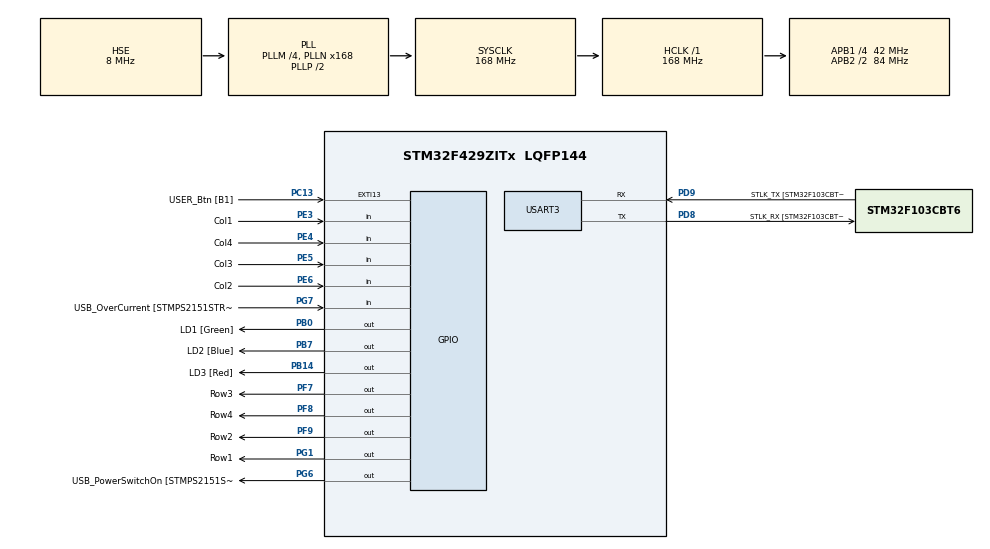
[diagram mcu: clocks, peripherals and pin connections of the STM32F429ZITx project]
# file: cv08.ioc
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Mcu.Family=STM32F4
Mcu.Name=STM32F429ZITx
Mcu.Package=LQFP144
NVIC.PriorityGroup=NVIC_PRIORITYGROUP_4
NVIC.TIM3_IRQn=true\:0\:0\:false\:false\:true\:true\:true
PA1.GPIO_Label=RMII_REF_CLK [LAN8742A-CZ-TR_REFCLK0]
PA1.Signal=ETH_REF_CLK
PA10.GPIO_Label=USB_ID
PA10.Signal=USB_OTG_FS_ID
PA11.GPIO_Label=USB_DM
PA11.Signal=USB_OTG_FS_DM
PA12.GPIO_Label=USB_DP
PA12.Signal=USB_OTG_FS_DP
PA13.GPIO_Label=TMS
PA13.Mode=Serial_Wire
PA13.Signal=SYS_JTMS-SWDIO
PA14.GPIO_Label=TCK
PA14.Mode=Serial_Wire
PA14.Signal=SYS_JTCK-SWCLK
PA2.GPIO_Label=RMII_MDIO [LAN8742A-CZ-TR_MDIO]
PA2.Signal=ETH_MDIO
PA7.GPIO_Label=RMII_CRS_DV [LAN8742A-CZ-TR_CRS_DV]
PA7.Signal=ETH_CRS_DV
PA8.GPIO_Label=USB_SOF [TP1]
PA8.Signal=USB_OTG_FS_SOF
PA9.GPIO_Label=USB_VBUS
PA9.Signal=USB_OTG_FS_VBUS
PB0.GPIO_Label=LD1 [Green]
PB0.Signal=GPIO_Output
PB13.GPIO_Label=RMII_TXD1 [LAN8742A-CZ-TR_TXD1]
PB13.Signal=ETH_TXD1
PB14.GPIO_Label=LD3 [Red]
PB14.Signal=GPIO_Output
PB7.GPIO_Label=LD2 [Blue]
PB7.Signal=GPIO_Output
PC1.GPIO_Label=RMII_MDC [LAN8742A-CZ-TR_MDC]
PC1.Signal=ETH_MDC
PC13.GPIO_Label=USER_Btn [B1]
PC13.Signal=GPXTI13
PC14/OSC32_IN.Mode=LSE-External-Oscillator
PC14/OSC32_IN.Signal=RCC_OSC32_IN
PC15/OSC32_OUT.Mode=LSE-External-Oscillator
PC15/OSC32_OUT.Signal=RCC_OSC32_OUT
PC4.GPIO_Label=RMII_RXD0 [LAN8742A-CZ-TR_RXD0]
PC4.Signal=ETH_RXD0
PC5.GPIO_Label=RMII_RXD1 [LAN8742A-CZ-TR_RXD1]
PC5.Signal=ETH_RXD1
PD8.GPIO_Label=STLK_RX [STM32F103CBT6_PA3]
PD8.Mode=Asynchronous
PD8.Signal=USART3_TX
PD9.GPIO_Label=STLK_TX [STM32F103CBT6_PA2]
PD9.Mode=Asynchronous
PD9.Signal=USART3_RX
PE3.GPIO_Label=Col1
PE3.GPIO_PuPd=GPIO_PULLUP
PE3.Signal=GPIO_Input
PE4.GPIO_Label=Col4
PE4.GPIO_PuPd=GPIO_PULLUP
PE4.Signal=GPIO_Input
PE5.GPIO_Label=Col3
PE5.GPIO_PuPd=GPIO_PULLUP
PE5.Signal=GPIO_Input
PE6.GPIO_Label=Col2
PE6.GPIO_PuPd=GPIO_PULLUP
PE6.Signal=GPIO_Input
PF7.GPIO_Label=Row3
PF7.GPIO_ModeDefaultOutputPP=GPIO_MODE_OUTPUT_OD
PF7.Signal=GPIO_Output
PF8.GPIO_Label=Row4
PF8.GPIO_ModeDefaultOutputPP=GPIO_MODE_OUTPUT_OD
PF8.Signal=GPIO_Output
PF9.GPIO_Label=Row2
PF9.GPIO_ModeDefaultOutputPP=GPIO_MODE_OUTPUT_OD
PF9.Signal=GPIO_Output
PG1.GPIO_Label=Row1
PG1.GPIO_ModeDefaultOutputPP=GPIO_MODE_OUTPUT_OD
PG1.Signal=GPIO_Output
PG11.GPIO_Label=RMII_TX_EN [LAN8742A-CZ-TR_TXEN]
PG11.Signal=ETH_TX_EN
PG13.GPIO_Label=RMII_TXD0 [LAN8742A-CZ-TR_TXD0]
PG13.Signal=ETH_TXD0
PG6.GPIO_Label=USB_PowerSwitchOn [STMPS2151STR_EN]
PG6.Signal=GPIO_Output
PG7.GPIO_Label=USB_OverCurrent [STMPS2151STR_FAULT]
PG7.Signal=GPIO_Input
PH0/OSC_IN.GPIO_Label=MCO [STM32F103CBT6_PA8]
PH0/OSC_IN.Mode=HSE-External-Clock-Source
PH0/OSC_IN.Signal=RCC_OSC_IN
PH1/OSC_OUT.Mode=HSE-External-Clock-Source
PH1/OSC_OUT.Signal=RCC_OSC_OUT
ProjectManager.HeapSize=0x200
ProjectManager.StackSize=0x400
ProjectManager.TargetToolchain=STM32CubeIDE
RCC.48MHZClocksFreq_Value=48000000
RCC.AHBFreq_Value=168000000
RCC.APB1CLKDivider=RCC_HCLK_DIV4
RCC.APB1Freq_Value=42000000
RCC.APB1TimFreq_Value=84000000
RCC.APB2CLKDivider=RCC_HCLK_DIV2
RCC.APB2Freq_Value=84000000
RCC.APB2TimCLKDivider=2
RCC.APB2TimFreq_Value=168000000
RCC.CortexFreq_Value=168000000
RCC.HCLKFreq_Value=168000000
RCC.HSE_VALUE=8000000
RCC.HSI_VALUE=16000000
RCC.PLLM=4
RCC.PLLMUL=RCC_PLL_MUL9
RCC.PLLN=168
RCC.PLLQ=7
RCC.PLLSourceVirtual=RCC_PLLSOURCE_HSE
RCC.PRESCALERUSB=RCC_USBCLKSOURCE_PLL_DIV1_5
RCC.SYSCLKFreq_VALUE=168000000
RCC.SYSCLKSource=RCC_SYSCLKSOURCE_PLLCLK
RCC.SYSCLKSourceVirtual=RCC_SYSCLKSOURCE_PLLCLK
RCC.USBFreq_Value=48000000
RCC.VCOOutputFreq_Value=336000000
TIM3.AutoReloadPreload=TIM_AUTORELOAD_PRELOAD_ENABLE
TIM3.Period=99
TIM3.Prescaler=8399
USART3.VirtualMode=VM_ASYNC
VP_TIM3_VS_ClockSourceINT.Mode=Internal
board=NUCLEO-F429ZI

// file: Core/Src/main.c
/* USER CODE BEGIN Header */
/**
  ******************************************************************************
  * @file           : main.c
  * @brief          : Main program body
  ******************************************************************************
  * @attention
  *
  * <h2><center>&copy; Copyright (c) 2020 STMicroelectronics.
  * All rights reserved.</center></h2>
  *
  * This software component is licensed by ST under BSD 3-Clause license,
  * the "License"; You may not use this file except in compliance with the
  * License. You may obtain a copy of the License at:
  *                        opensource.org/licenses/BSD-3-Clause
  *
  ******************************************************************************
  */
/* USER CODE END Header */
#include "main.h"

/* USER CODE BEGIN Includes */
#include <stdio.h>
#include <string.h>

/* USER CODE END Includes */

TIM_HandleTypeDef htim3;

UART_HandleTypeDef huart3;

/* USER CODE BEGIN PV */

static volatile int8_t key = -1;
static volatile uint32_t old_time = 0;
static volatile uint32_t new_time = 0;
static volatile uint8_t i = 0;
static volatile uint16_t prodleva = 500;
static const int kod = { 7, 9, 3, 2, 12 };
static int pole[5];

/* USER CODE END PV */

void SystemClock_Config(void);
static void MX_GPIO_Init(void);
static void MX_USART3_UART_Init(void);
static void MX_TIM3_Init(void);

/* USER CODE BEGIN 0 */

int __io_putchar(int ch)
{
	ITM_SendChar(ch);
	return 0;
}

void HAL_TIM_PeriodElapsedCallback(TIM_HandleTypeDef *htim)
{
	static int row = 0;
	static const int keyboard[4][4] = {
			{ 1, 2, 3, 21 },
			{ 4, 5, 6, 22 },
			{ 7, 8, 9, 23 },
			{ 11, 0, 12, 24 },
	};

	if (key == -1) {
		if (HAL_GPIO_ReadPin(Col1_GPIO_Port, Col1_Pin) == GPIO_PIN_RESET) key = keyboard[row][0];
		if (HAL_GPIO_ReadPin(Col2_GPIO_Port, Col2_Pin) == GPIO_PIN_RESET) key = keyboard[row][1];
		if (HAL_GPIO_ReadPin(Col3_GPIO_Port, Col3_Pin) == GPIO_PIN_RESET) key = keyboard[row][2];
		if (HAL_GPIO_ReadPin(Col4_GPIO_Port, Col4_Pin) == GPIO_PIN_RESET) key = keyboard[row][3];
	}

	HAL_GPIO_WritePin(Row1_GPIO_Port, Row1_Pin, GPIO_PIN_SET);
	HAL_GPIO_WritePin(Row2_GPIO_Port, Row2_Pin, GPIO_PIN_SET);
	HAL_GPIO_WritePin(Row3_GPIO_Port, Row3_Pin, GPIO_PIN_SET);
	HAL_GPIO_WritePin(Row4_GPIO_Port, Row4_Pin, GPIO_PIN_SET);

	switch (row) {
	case 0:
		row = 1;
		HAL_GPIO_WritePin(Row2_GPIO_Port, Row2_Pin, GPIO_PIN_RESET);
		break;
	case 1:
		row = 2;
		HAL_GPIO_WritePin(Row3_GPIO_Port, Row3_Pin, GPIO_PIN_RESET);
		break;
	case 2:
		row = 3;
		HAL_GPIO_WritePin(Row4_GPIO_Port, Row4_Pin, GPIO_PIN_RESET);
		break;
	case 3:
		row = 0;
		HAL_GPIO_WritePin(Row1_GPIO_Port, Row1_Pin, GPIO_PIN_RESET);
		break;
	}
}

/* USER CODE END 0 */

int main(void)
{

  /* MCU Configuration--------------------------------------------------------*/

  /* Reset of all peripherals, Initializes the Flash interface and the Systick. */
  HAL_Init();

  /* Configure the system clock */
  SystemClock_Config();

  /* Initialize all configured peripherals */
  MX_GPIO_Init();
  MX_USART3_UART_Init();
  MX_TIM3_Init();
  /* USER CODE BEGIN 2 */

  HAL_TIM_Base_Start_IT(&htim3);

  /* USER CODE END 2 */

  /* Infinite loop */
  /* USER CODE BEGIN WHILE */
  while (1)
  {

	  uint8_t n = memcmp(pole, kod, sizeof(kod));

	  if (i == 5 && n == 0){HAL_GPIO_TogglePin(LD1_GPIO_Port, LD1_Pin);i = 0;}
	  else if (i == 5 && n != 0){i = 0;}

	  if (key != -1){

		  new_time = HAL_GetTick();

		  if (new_time < old_time + prodleva){

			  pole[i] = key;
			  i++;

		  }

		  else {

			  i = 0;
			  pole[i] = key;
			  i++;

		  }

		  old_time = new_time;
		  key = -1;
	  }

    /* USER CODE END WHILE */

  }
}

void SystemClock_Config(void)
{
  RCC_OscInitTypeDef RCC_OscInitStruct = {0};
  RCC_ClkInitTypeDef RCC_ClkInitStruct = {0};

  /** Configure the main internal regulator output voltage
  */
  __HAL_RCC_PWR_CLK_ENABLE();
  __HAL_PWR_VOLTAGESCALING_CONFIG(PWR_REGULATOR_VOLTAGE_SCALE1);
  /** Initializes the RCC Oscillators according to the specified parameters
  * in the RCC_OscInitTypeDef structure.
  */
  RCC_OscInitStruct.OscillatorType = RCC_OSCILLATORTYPE_HSE;
  RCC_OscInitStruct.HSEState = RCC_HSE_BYPASS;
  RCC_OscInitStruct.PLL.PLLState = RCC_PLL_ON;
  RCC_OscInitStruct.PLL.PLLSource = RCC_PLLSOURCE_HSE;
  RCC_OscInitStruct.PLL.PLLM = 4;
  RCC_OscInitStruct.PLL.PLLN = 168;
  RCC_OscInitStruct.PLL.PLLP = RCC_PLLP_DIV2;
  RCC_OscInitStruct.PLL.PLLQ = 7;
  if (HAL_RCC_OscConfig(&RCC_OscInitStruct) != HAL_OK)
  {
    Error_Handler();
  }
  /** Initializes the CPU, AHB and APB buses clocks
  */
  RCC_ClkInitStruct.ClockType = RCC_CLOCKTYPE_HCLK|RCC_CLOCKTYPE_SYSCLK
                              |RCC_CLOCKTYPE_PCLK1|RCC_CLOCKTYPE_PCLK2;
  RCC_ClkInitStruct.SYSCLKSource = RCC_SYSCLKSOURCE_PLLCLK;
  RCC_ClkInitStruct.AHBCLKDivider = RCC_SYSCLK_DIV1;
  RCC_ClkInitStruct.APB1CLKDivider = RCC_HCLK_DIV4;
  RCC_ClkInitStruct.APB2CLKDivider = RCC_HCLK_DIV2;

  if (HAL_RCC_ClockConfig(&RCC_ClkInitStruct, FLASH_LATENCY_5) != HAL_OK)
  {
    Error_Handler();
  }
}

static void MX_TIM3_Init(void)
{

  TIM_ClockConfigTypeDef sClockSourceConfig = {0};
  TIM_MasterConfigTypeDef sMasterConfig = {0};

  htim3.Instance = TIM3;
  htim3.Init.Prescaler = 8399;
  htim3.Init.CounterMode = TIM_COUNTERMODE_UP;
  htim3.Init.Period = 99;
  htim3.Init.ClockDivision = TIM_CLOCKDIVISION_DIV1;
  htim3.Init.AutoReloadPreload = TIM_AUTORELOAD_PRELOAD_ENABLE;
  if (HAL_TIM_Base_Init(&htim3) != HAL_OK)
  {
    Error_Handler();
  }
  sClockSourceConfig.ClockSource = TIM_CLOCKSOURCE_INTERNAL;
  if (HAL_TIM_ConfigClockSource(&htim3, &sClockSourceConfig) != HAL_OK)
  {
    Error_Handler();
  }
  sMasterConfig.MasterOutputTrigger = TIM_TRGO_RESET;
  sMasterConfig.MasterSlaveMode = TIM_MASTERSLAVEMODE_DISABLE;
  if (HAL_TIMEx_MasterConfigSynchronization(&htim3, &sMasterConfig) != HAL_OK)
  {
    Error_Handler();
  }

}

static void MX_USART3_UART_Init(void)
{

  huart3.Instance = USART3;
  huart3.Init.BaudRate = 115200;
  huart3.Init.WordLength = UART_WORDLENGTH_8B;
  huart3.Init.StopBits = UART_STOPBITS_1;
  huart3.Init.Parity = UART_PARITY_NONE;
  huart3.Init.Mode = UART_MODE_TX_RX;
  huart3.Init.HwFlowCtl = UART_HWCONTROL_NONE;
  huart3.Init.OverSampling = UART_OVERSAMPLING_16;
  if (HAL_UART_Init(&huart3) != HAL_OK)
  {
    Error_Handler();
  }

}

static void MX_GPIO_Init(void)
{
  GPIO_InitTypeDef GPIO_InitStruct = {0};

  /* GPIO Ports Clock Enable */
  __HAL_RCC_GPIOE_CLK_ENABLE();
  __HAL_RCC_GPIOC_CLK_ENABLE();
  __HAL_RCC_GPIOF_CLK_ENABLE();
  __HAL_RCC_GPIOH_CLK_ENABLE();
  __HAL_RCC_GPIOA_CLK_ENABLE();
  __HAL_RCC_GPIOB_CLK_ENABLE();
  __HAL_RCC_GPIOG_CLK_ENABLE();
  __HAL_RCC_GPIOD_CLK_ENABLE();

  /*Configure GPIO pin Output Level */
  HAL_GPIO_WritePin(GPIOF, Row3_Pin|Row4_Pin|Row2_Pin, GPIO_PIN_RESET);

  /*Configure GPIO pin Output Level */
  HAL_GPIO_WritePin(GPIOB, LD1_Pin|LD3_Pin|LD2_Pin, GPIO_PIN_RESET);

  /*Configure GPIO pin Output Level */
  HAL_GPIO_WritePin(GPIOG, Row1_Pin|USB_PowerSwitchOn_Pin, GPIO_PIN_RESET);

  /*Configure GPIO pins : Col1_Pin Col4_Pin Col3_Pin Col2_Pin */
  GPIO_InitStruct.Pin = Col1_Pin|Col4_Pin|Col3_Pin|Col2_Pin;
  GPIO_InitStruct.Mode = GPIO_MODE_INPUT;
  GPIO_InitStruct.Pull = GPIO_PULLUP;
  HAL_GPIO_Init(GPIOE, &GPIO_InitStruct);

  /*Configure GPIO pin : USER_Btn_Pin */
  GPIO_InitStruct.Pin = USER_Btn_Pin;
  GPIO_InitStruct.Mode = GPIO_MODE_IT_RISING;
  GPIO_InitStruct.Pull = GPIO_NOPULL;
  HAL_GPIO_Init(USER_Btn_GPIO_Port, &GPIO_InitStruct);

  /*Configure GPIO pins : Row3_Pin Row4_Pin Row2_Pin */
  GPIO_InitStruct.Pin = Row3_Pin|Row4_Pin|Row2_Pin;
  GPIO_InitStruct.Mode = GPIO_MODE_OUTPUT_OD;
  GPIO_InitStruct.Pull = GPIO_NOPULL;
  GPIO_InitStruct.Speed = GPIO_SPEED_FREQ_LOW;
  HAL_GPIO_Init(GPIOF, &GPIO_InitStruct);

  /*Configure GPIO pins : RMII_MDC_Pin RMII_RXD0_Pin RMII_RXD1_Pin */
  GPIO_InitStruct.Pin = RMII_MDC_Pin|RMII_RXD0_Pin|RMII_RXD1_Pin;
  GPIO_InitStruct.Mode = GPIO_MODE_AF_PP;
  GPIO_InitStruct.Pull = GPIO_NOPULL;
  GPIO_InitStruct.Speed = GPIO_SPEED_FREQ_VERY_HIGH;
  GPIO_InitStruct.Alternate = GPIO_AF11_ETH;
  HAL_GPIO_Init(GPIOC, &GPIO_InitStruct);

  /*Configure GPIO pins : RMII_REF_CLK_Pin RMII_MDIO_Pin RMII_CRS_DV_Pin */
  GPIO_InitStruct.Pin = RMII_REF_CLK_Pin|RMII_MDIO_Pin|RMII_CRS_DV_Pin;
  GPIO_InitStruct.Mode = GPIO_MODE_AF_PP;
  GPIO_InitStruct.Pull = GPIO_NOPULL;
  GPIO_InitStruct.Speed = GPIO_SPEED_FREQ_VERY_HIGH;
  GPIO_InitStruct.Alternate = GPIO_AF11_ETH;
  HAL_GPIO_Init(GPIOA, &GPIO_InitStruct);

  /*Configure GPIO pins : LD1_Pin LD3_Pin LD2_Pin */
  GPIO_InitStruct.Pin = LD1_Pin|LD3_Pin|LD2_Pin;
  GPIO_InitStruct.Mode = GPIO_MODE_OUTPUT_PP;
  GPIO_InitStruct.Pull = GPIO_NOPULL;
  GPIO_InitStruct.Speed = GPIO_SPEED_FREQ_LOW;
  HAL_GPIO_Init(GPIOB, &GPIO_InitStruct);

  /*Configure GPIO pin : Row1_Pin */
  GPIO_InitStruct.Pin = Row1_Pin;
  GPIO_InitStruct.Mode = GPIO_MODE_OUTPUT_OD;
  GPIO_InitStruct.Pull = GPIO_NOPULL;
  GPIO_InitStruct.Speed = GPIO_SPEED_FREQ_LOW;
  HAL_GPIO_Init(Row1_GPIO_Port, &GPIO_InitStruct);

  /*Configure GPIO pin : RMII_TXD1_Pin */
  GPIO_InitStruct.Pin = RMII_TXD1_Pin;
  GPIO_InitStruct.Mode = GPIO_MODE_AF_PP;
  GPIO_InitStruct.Pull = GPIO_NOPULL;
  GPIO_InitStruct.Speed = GPIO_SPEED_FREQ_VERY_HIGH;
  GPIO_InitStruct.Alternate = GPIO_AF11_ETH;
  HAL_GPIO_Init(RMII_TXD1_GPIO_Port, &GPIO_InitStruct);

  /*Configure GPIO pin : USB_PowerSwitchOn_Pin */
  GPIO_InitStruct.Pin = USB_PowerSwitchOn_Pin;
  GPIO_InitStruct.Mode = GPIO_MODE_OUTPUT_PP;
  GPIO_InitStruct.Pull = GPIO_NOPULL;
  GPIO_InitStruct.Speed = GPIO_SPEED_FREQ_LOW;
  HAL_GPIO_Init(USB_PowerSwitchOn_GPIO_Port, &GPIO_InitStruct);

  /*Configure GPIO pin : USB_OverCurrent_Pin */
  GPIO_InitStruct.Pin = USB_OverCurrent_Pin;
  GPIO_InitStruct.Mode = GPIO_MODE_INPUT;
  GPIO_InitStruct.Pull = GPIO_NOPULL;
  HAL_GPIO_Init(USB_OverCurrent_GPIO_Port, &GPIO_InitStruct);

  /*Configure GPIO pins : USB_SOF_Pin USB_ID_Pin USB_DM_Pin USB_DP_Pin */
  GPIO_InitStruct.Pin = USB_SOF_Pin|USB_ID_Pin|USB_DM_Pin|USB_DP_Pin;
  GPIO_InitStruct.Mode = GPIO_MODE_AF_PP;
  GPIO_InitStruct.Pull = GPIO_NOPULL;
  GPIO_InitStruct.Speed = GPIO_SPEED_FREQ_VERY_HIGH;
  GPIO_InitStruct.Alternate = GPIO_AF10_OTG_FS;
  HAL_GPIO_Init(GPIOA, &GPIO_InitStruct);

  /*Configure GPIO pin : USB_VBUS_Pin */
  GPIO_InitStruct.Pin = USB_VBUS_Pin;
  GPIO_InitStruct.Mode = GPIO_MODE_INPUT;
  GPIO_InitStruct.Pull = GPIO_NOPULL;
  HAL_GPIO_Init(USB_VBUS_GPIO_Port, &GPIO_InitStruct);

  /*Configure GPIO pins : RMII_TX_EN_Pin RMII_TXD0_Pin */
  GPIO_InitStruct.Pin = RMII_TX_EN_Pin|RMII_TXD0_Pin;
  GPIO_InitStruct.Mode = GPIO_MODE_AF_PP;
  GPIO_InitStruct.Pull = GPIO_NOPULL;
  GPIO_InitStruct.Speed = GPIO_SPEED_FREQ_VERY_HIGH;
  GPIO_InitStruct.Alternate = GPIO_AF11_ETH;
  HAL_GPIO_Init(GPIOG, &GPIO_InitStruct);

}

void Error_Handler(void)
{
}

/************************ (C) COPYRIGHT STMicroelectronics *****END OF FILE****/
